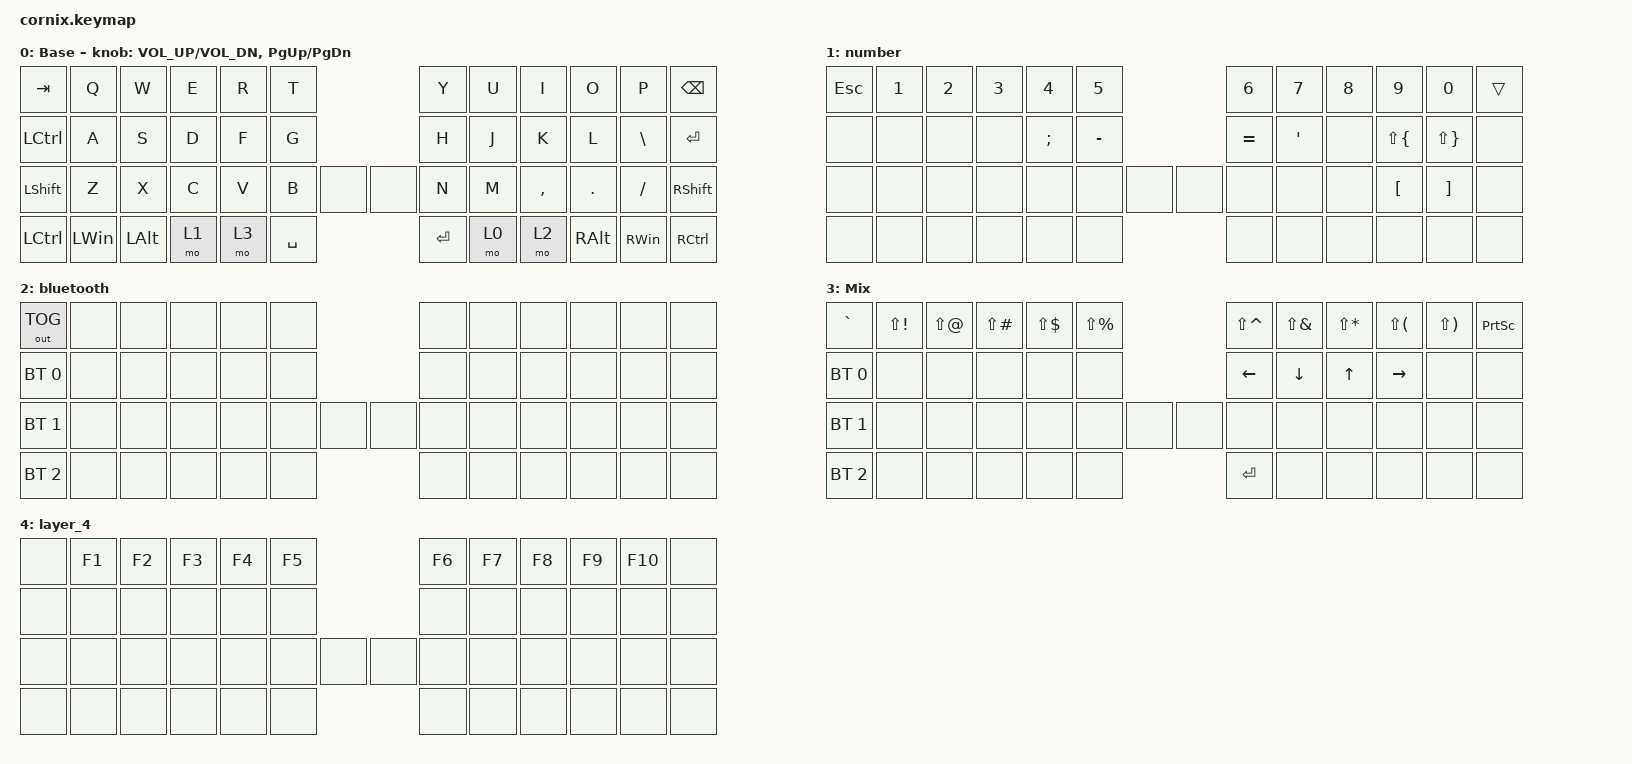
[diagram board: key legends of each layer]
/*
 * Copyright (c) 2020 The ZMK Contributors
 *
 * SPDX-License-Identifier: MIT
 */

#include "zmk-helpers/helper.h"
#include "includes/cornix54.h"

// tap windows for ctl alt and gui

#define HM_TAPPING_TERM 250
#define HM_TAPPING_REPEAT 210

// quick tapping for shift

#define HM_TAPPING_TERM_FAST 200
#define HM_PRIOR_IDLE 70
#define BASE 0
#define WIN 1
#define LOWER 2
#define RAISE 3
#define ADJUST 4
#define NAVI   5
#define NUM    6
#define DEBUG  7

// https://github.com/urob/zmk-config/tree/main#timeless-homerow-mods

#define KEYS_L LT0 LT1 LT2 LT3 LT4 LT5 LM0 LM1 LM2 LM3 LM4 LM5 LB0 LB1 LB2 LB3 LB4 LB5  // left hand
#define KEYS_R RT0 RT1 RT2 RT3 RT4 RT5 RM0 RM1 RM2 RM3 RM4 RM5 RB0 RB1 RB2 RB3 RB4 RB5  // right hand
#define THUMBS LH1 LH0 RH0 RH1
#define KEYS_T LH1 LH0 RH0 RH1
#define ZMK_POINTING_DEFAULT_SCRL_VAL 15

#include <behaviors.dtsi>
#include <dt-bindings/zmk/bt.h>
#include <dt-bindings/zmk/keys.h>
#include <dt-bindings/zmk/outputs.h>

/ {
    // Activate ADJUST layer by pressing raise and lower

    behaviors {
        hm_l: homerow_mods_left {
            compatible = "zmk,behavior-hold-tap";
            #binding-cells = <2>;
            bindings = <&kp>, <&kp>;

            flavor = "balanced";
            tapping-term-ms = <HM_TAPPING_TERM>;
            quick-tap-ms = <200>;                // repeat on tap-into-hold
            require-prior-idle-ms = <HM_PRIOR_IDLE>;
            hold-trigger-key-positions = <KEYS_R KEYS_T>;
            hold-trigger-on-release;
        };

        hm_r: homerow_mods_right {
            compatible = "zmk,behavior-hold-tap";
            #binding-cells = <2>;
            bindings = <&kp>, <&kp>;

            flavor = "balanced";
            tapping-term-ms = <HM_TAPPING_TERM>;
            quick-tap-ms = <200>;
            require-prior-idle-ms = <HM_PRIOR_IDLE>;
            hold-trigger-key-positions = <KEYS_L KEYS_T>;
            hold-trigger-on-release;
        };

        // Positional Homerow mods for shift
        // Use faster tapping term and disable some features that may
        // cause false negatives.

        hm_shift_l: hm_shift_l {
            compatible = "zmk,behavior-hold-tap";
            #binding-cells = <2>;
            bindings = <&kp>, <&kp>;

            //flavor = "balanced";

            flavor = "balanced";
            tapping-term-ms = <HM_TAPPING_TERM_FAST>;
            quick-tap-ms = <200>;
            require-prior-idle-ms = <HM_PRIOR_IDLE>;
            hold-trigger-key-positions = <KEYS_R KEYS_T>;
            hold-trigger-on-release;
        };

        hm_shift_r: hm_shift_r {
            compatible = "zmk,behavior-hold-tap";
            #binding-cells = <2>;
            bindings = <&kp>, <&kp>;

            flavor = "balanced";
            tapping-term-ms = <HM_TAPPING_TERM_FAST>;
            quick-tap-ms = <200>;
            require-prior-idle-ms = <HM_PRIOR_IDLE>;
            hold-trigger-key-positions = <KEYS_L KEYS_T>;

            // for quick tapping; shift+~

            hold-trigger-on-release;
        };

        /*
         * Non-Positional Homerow Mods
         * Used for &mm_grescm_gui behavior on left hand.
         *
         * Usage: &hm LSHFT T
         * Tap: T
         * Tap-Tap-Hold: Repeat T
         * Hold: LSHIFT
         */

        hm: homerow_mods {
            compatible = "zmk,behavior-hold-tap";
            #binding-cells = <2>;
            bindings = <&kp>, <&kp>;

            flavor = "balanced";
            tapping-term-ms = <HM_TAPPING_TERM>;
            quick-tap-ms = <200>;
        };

        lt: layer_tap {
            compatible = "zmk,behavior-hold-tap";
            #binding-cells = <2>;
            bindings = <&mo>, <&kp>;

            flavor = "hold-preferred";
            tapping-term-ms = <HM_TAPPING_TERM>;
            quick-tap-ms = <200>;
        };
    };

    conditional_layers {
        compatible = "zmk,conditional-layers";

        adjust_layer {
            if-layers = <3 2>;
            then-layer = <4>;
        };
    };

    combos {
        compatible = "zmk,combos";

        cb_ltm {
            bindings = <&kp ESC>;
            key-positions = <2 4>;
            layers = <0 1>;
        };

        cb_lm {
            bindings = <&kp TAB>;
            key-positions = <14 16>;
            layers = <0 1>;
        };

        cb_enter {
            bindings = <&kp RET>;
            key-positions = <21 19>;
            layers = <0 1>;
        };

        layer3 {
            bindings = <&kp N3>;
            key-positions = <5 6>;
        };

        layer4 {
            bindings = <&kp N4>;
            key-positions = <5 6>;
        };
    };

    keymap {
        compatible = "zmk,keymap";

        default_layer {
            display-name = "Base";

            // ------------------------------------------------------------------------------------------------------------
            // |   `   |  1  |  2  |  3   |  4   |  5   |                   |  6   |  7    |  8    |  9   |   0   |       |
            // |  ESC  |  Q  |  W  |  E   |  R   |  T   |                   |  Y   |  U    |  I    |  O   |   P   | BKSPC |
            // |  TAB  |  A  |  S  |  D   |  F   |  G   |                   |  H   |  J    |  K    |  L   |   ;   |   '   |
            // | SHIFT |  Z  |  X  |  C   |  V   |  B   |  MUTE  |  |       |  N   |  M    |  ,    |  .   |   /   | SHIFT |
            //               | GUI | ALT  | CTRL | LOWER|  ENTER |  | SPACE | RAISE| CTRL  | ALT   | GUI  |

            bindings = <
&kp TAB           &kp Q         &kp W         &kp E  &kp R  &kp T                    &kp Y      &kp U  &kp I      &kp O          &kp P          &kp BACKSPACE
&kp LEFT_CONTROL  &kp A         &kp S         &kp D  &kp F  &kp G                    &kp H      &kp J  &kp K      &kp L          &kp BACKSLASH  &kp ENTER
&kp LEFT_SHIFT    &kp Z         &kp X         &kp C  &kp V  &kp B      &none  &none  &kp N      &kp M  &kp COMMA  &kp DOT        &kp FSLH       &kp RIGHT_SHIFT
&kp LEFT_CONTROL  &kp LEFT_WIN  &kp LEFT_ALT  &mo 1  &mo 3  &kp SPACE                &kp ENTER  &mo 0  &mo 2      &kp RIGHT_ALT  &kp RIGHT_WIN  &kp RIGHT_CONTROL
            >;

            sensor-bindings = <&inc_dec_kp C_VOL_UP C_VOL_DN &inc_dec_kp PG_UP PG_DN>;
        };

        num_layer {
            display-name = "number";

            // ------------------------------------------------------------------------------------------------------------
            // |   `   |  1  |  2  |  3   |  4   |  5   |                   |  6   |  7    |  8    |  9   |   0   |       |
            // |  ESC  |  Q  |  W  |  E   |  R   |  T   |                   |  Y   |  U    |  I    |  O   |   P   | BKSPC |
            // |  TAB  |  A  |  S  |  D   |  F   |  G   |                   |  H   |  J    |  K    |  L   |   ;   |   '   |
            // | SHIFT |  Z  |  X  |  C   |  V   |  B   |  MUTE  |  |       |  N   |  M    |  ,    |  .   |   /   | SHIFT |
            //               | GUI | ALT  | CTRL | LOWER|  ENTER |  | SPACE | RAISE| CTRL  | ALT   | GUI  |

            bindings = <
&kp ESCAPE  &kp NUMBER_1  &kp NUMBER_2  &kp NUMBER_3  &kp NUMBER_4   &kp N5                   &kp N6     &kp N7   &kp N8  &kp N9        &kp N0        &trans
&none       &none         &none         &none         &kp SEMICOLON  &kp MINUS                &kp EQUAL  &kp SQT  &none   &kp LS(LBRC)  &kp LS(RBRC)  &none
&none       &none         &none         &none         &none          &none      &none  &none  &none      &none    &none   &kp LBKT      &kp RBKT      &none
&none       &none         &none         &none         &none          &none                    &none      &none    &none   &none         &none         &none
            >;
        };

        bluetooth_layer {
            display-name = "bluetooth";

            // TODO: Some binds are waiting for shifted keycode support.
            // -------------------------------
            // |       |  F1 |  F2 |  F3  |  F4  |  F5  |                   |  F6  |  F7   |  F8   |  F9  |  F10  |  F11  |
            // |   `   |  1  |  2  |  3   |  4   |  5   |                   |  6   |  7    |  8    |  9   |   0   |  F12  |
            // |       |  !  |  @  |  #   |  $   |  %   |                   |  ^   |  &    |  *    |  (   |   )   |   |   |
            // |       |  =  |  -  |  +   |  {   |  }   |        |  |       |  [   |  ]    |  ;    |  :   |   \   |       |
            //               |     |      |      |      |        |  |       |      |       |       |      |

            bindings = <
&out OUT_TOG  &none  &none  &none  &none  &none                &none  &none  &none  &none  &none  &none
&bt BT_SEL 0  &none  &none  &none  &none  &none                &none  &none  &none  &none  &none  &none
&bt BT_SEL 1  &none  &none  &none  &none  &none  &none  &none  &none  &none  &none  &none  &none  &none
&bt BT_SEL 2  &none  &none  &none  &none  &none                &none  &none  &none  &none  &none  &none
            >;
        };

        Mix_layer {
            display-name = "Mix";

            // ------------------------------------------------------------------------------------------------------------
            // | BTCLR | BT1  | BT2  |  BT3  |  BT4  |  BT5 |                |      |      |       |      |       |       |
            // |       | INS  | PSCR | GUI   |       |      |                | PGUP |      |   ^   |      |       |       |
            // |       | ALT  | CTRL | SHIFT |       | CAPS |                | PGDN |   <- |   v   |  ->  |  DEL  | BKSPC |
            // |       | UNDO | CUT  | COPY  | PASTE |      |      |  |      |      |      |       |      |       |       |
            //                |      |       |       |      |      |  |      |      |      |       |      |

            bindings = <
&kp GRAVE     &kp LS(EXCLAMATION)  &kp LS(AT)  &kp LS(POUND)  &kp LS(DLLR)  &kp LS(PRCNT)                &kp LS(CARET)  &kp LS(AMPS)  &kp LS(STAR)  &kp LS(LPAR)  &kp LS(RPAR)  &kp PRINTSCREEN
&bt BT_SEL 0  &none                &none       &none          &none         &none                        &kp LEFT       &kp DOWN      &kp UP        &kp RIGHT     &none         &none
&bt BT_SEL 1  &none                &none       &none          &none         &none          &none  &none  &none          &none         &none         &none         &none         &none
&bt BT_SEL 2  &none                &none       &none          &none         &none                        &kp ENTER      &none         &none         &none         &none         &none
            >;
        };

        layer_4 {
            bindings = <
&none  &kp F1  &kp F2  &kp F3  &kp F4  &kp F5                &kp F6  &kp F7  &kp F8  &kp F9  &kp F10  &none
&none  &none   &none   &none   &none   &none                 &none   &none   &none   &none   &none    &none
&none  &none   &none   &none   &none   &none   &none  &none  &none   &none   &none   &none   &none    &none
&none  &none   &none   &none   &none   &none                 &none   &none   &none   &none   &none    &none
            >;
        };
    };
};
